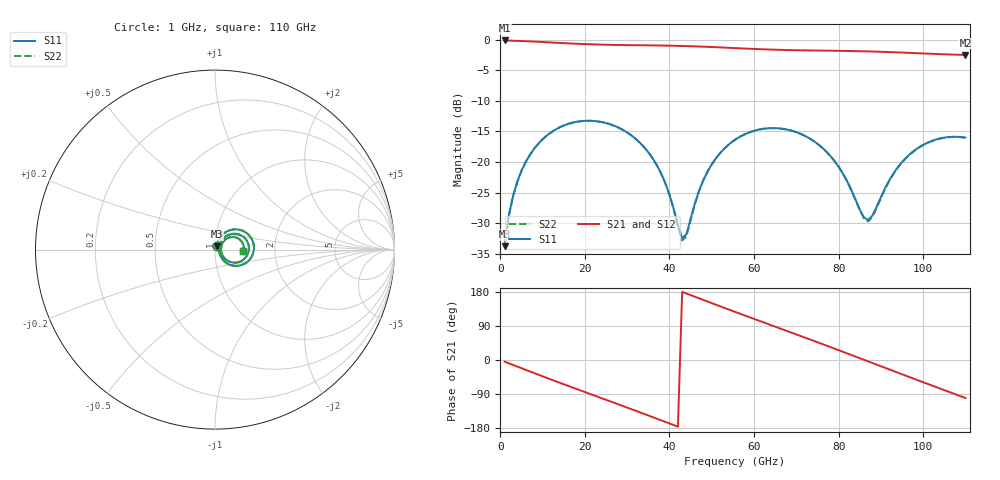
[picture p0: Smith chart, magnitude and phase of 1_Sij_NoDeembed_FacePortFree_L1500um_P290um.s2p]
! Touchstone file exported from HFSS 2024.2.0
!  File:  C:/Users/vaintrug/Documents/Ansoft_Workspace/Comparaison_Calculs_HFSS/1_VarPort.aedt
!  Generated:  03:22:16 PM Jan 21, 2025
!  Design:  1_NoDeembed_FacePortFree
!  Project:  1_VarPort
!  Setup:  Setup1
!  Solution:  Sweep
! Variables:
!  $Lenght = 1500um
!  $PortSize = 290um
!  Gap = 30um
!  Th = 2um
!  X_centralStrip = 20um
!  X_masse = 200um
!  Y_Sub = 1.5mm
!  Z_Box = 400um
!  Z_Sub = 200um
# GHz S MA R 50.000000
! Terminal data exported
! Port[1] = 1
! Port[2] = 2
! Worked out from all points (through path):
!   110 points, 1 GHz to 110 GHz, reference 50 ohm
!   highest |S21| = -0.10 dB at 1 GHz (marker M1); lowest = -2.5 dB at 110 GHz (marker M2)
!   group delay of S21, straight-line fit = 11.6 ps
!   lowest |S11| = -33.8 dB at 1 GHz (marker M3), VSWR 1.04, Z = 50.9 + j1.84 ohm
!   |S11| at or under -10 dB: start of sweep to end of sweep
!   |S22| runs from -33.8 to -13.2 dB; largest |S21 - S12| = 1.5e-14
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1  0.02045 62.1  0.9891 -4.4  0.9891 -4.4  0.02045 62.1
! Gamma 6.18685058161881 50.2713091579622 6.11183819425643 50.1293340347241
! Port Impedance 50 0 50 0
2  0.03639 69.3  0.9865 -8.7  0.9865 -8.7  0.03639 69.3
3  0.0527 69.8  0.9841 -13.1  0.9841 -13.1  0.0527 69.8
7  0.1147 58.5  0.9716 -30.3  0.9716 -30.3  0.1147 58.5
14  0.1922 31.4  0.9441 -59.9  0.9441 -59.9  0.1921 31.3
20  0.2173 8.1  0.9236 -84.6  0.9236 -84.6  0.2173 8.1
29  0.1831 -25.3  0.907 -121.5  0.907 -121.5  0.183 -25.5
34  0.1323 -42.0  0.9026 -142.2  0.9026 -142.2  0.1322 -42.4
38  0.08101 -51.3  0.8989 -159.0  0.8989 -159.0  0.08074 -51.9
43  0.02384 -8.8  0.8913 179.8  0.8913 179.8  0.02281 -9.3
44  0.02558 21.7  0.8893 175.5  0.8893 175.5  0.02461 22.8
47  0.05825 52.4  0.8821 162.8  0.8821 162.8  0.05782 53.5
49  0.08354 52.0  0.8766 154.3  0.8766 154.3  0.08324 52.8
56  0.1561 32.8  0.8549 125.0  0.8549 125.0  0.156 33.2
65  0.1893 2.0  0.831 88.0  0.831 88.0  0.1893 2.2
74  0.1494 -27.6  0.8187 51.0  0.8187 51.0  0.1494 -27.6
80  0.09154 -41.5  0.8135 26.0  0.8135 26.0  0.09152 -41.8
87  0.0335 3.7  0.8046 -3.7  0.8046 -3.7  0.03263 3.4
92  0.07088 43.5  0.7945 -24.9  0.7945 -24.9  0.07009 44.1
96  0.1087 39.0  0.7846 -41.8  0.7846 -41.8  0.108 39.5
101  0.1438 25.5  0.7717 -62.8  0.7717 -62.8  0.1432 25.9
110  0.1585 -2.6  0.7524 -100.2  0.7524 -100.2  0.158 -2.4
